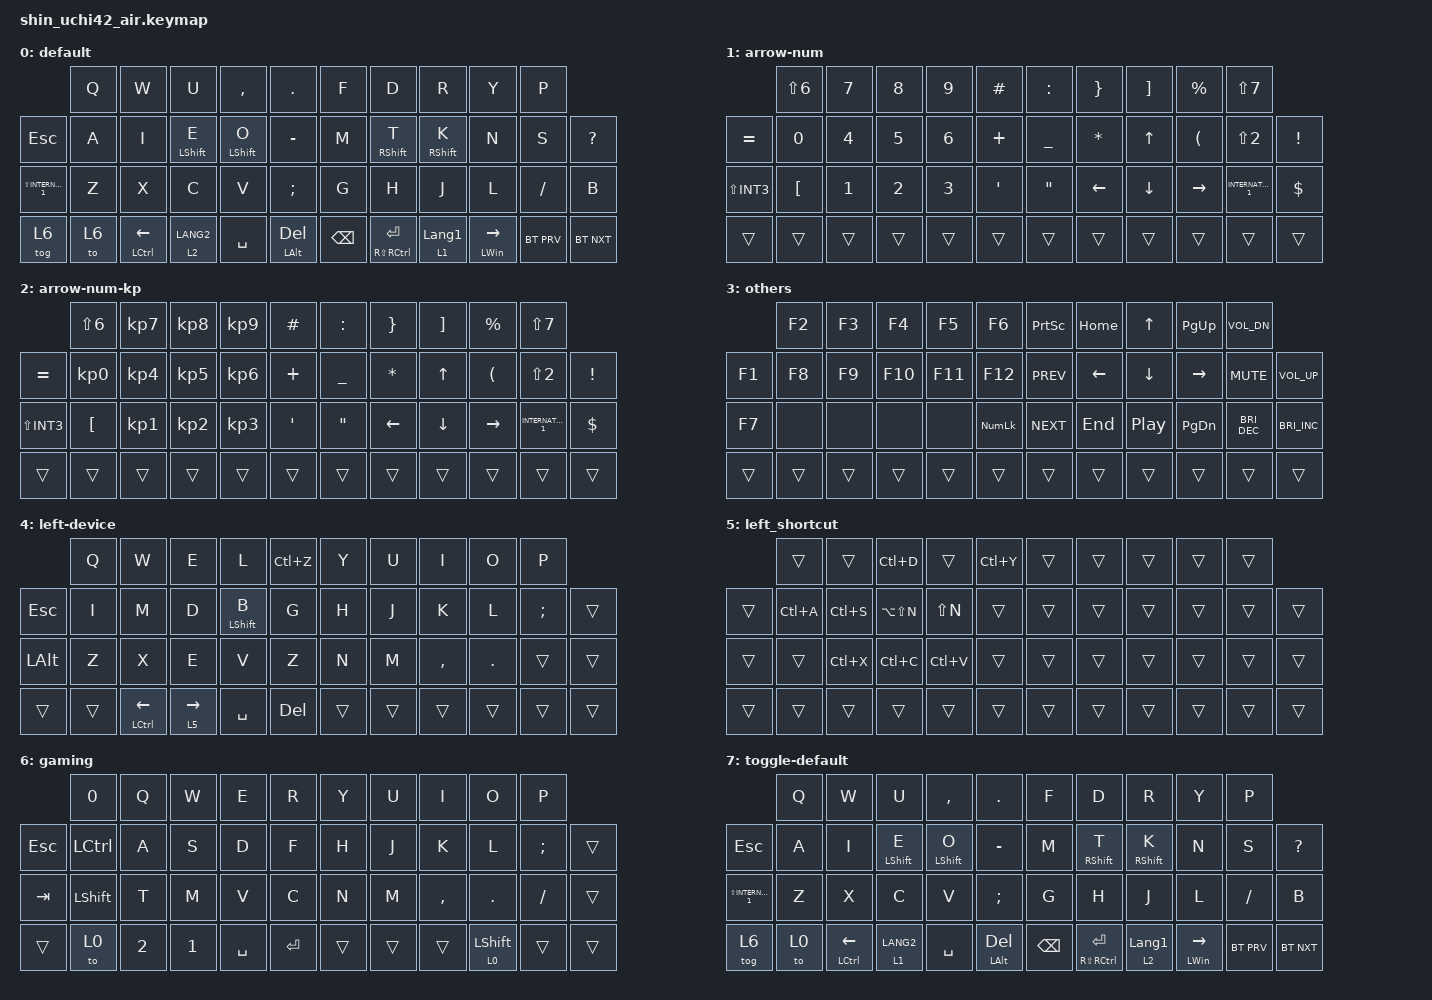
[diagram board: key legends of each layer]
#include <behaviors.dtsi>
#include <dt-bindings/zmk/bt.h>
#include <dt-bindings/zmk/keys.h>

&mt {
    quick-tap-ms = <200>;
    require-prior-idle-ms = <200>;
    flavor = "balanced";
};

/ {
    combos {
        compatible = "zmk,combos";

        bluetooth_clear {
            bindings = <&bt BT_CLR>;
            key-positions = <45 44>;
        };

        tab {
            bindings = <&kp TAB>;
            key-positions = <14 15>;
        };

        shift+tab {
            bindings = <&kp LS(TAB)>;
            key-positions = <26 27>;
            layers = <0 1 2>;
        };

        right-brace {
            bindings = <&kp PIPE>;
            key-positions = <6 17>;
        };

        right-bracket {
            bindings = <&kp BACKSLASH>;
            key-positions = <7 18>;
        };

        left-device {
            bindings = <&to 4>;
            key-positions = <11 12 13 14>;
        };

        f2 {
            bindings = <&kp F2>;
            key-positions = <12 11>;
            layers = <0 2 1 4>;
        };

        toggle-default {
            bindings = <&to 0>;
            key-positions = <17 18 19 20>;
        };

        enter {
            bindings = <&kp RET>;
            key-positions = <14 13>;
            layers = <0 2 1 4>;
        };

        greater_than {
            bindings = <&kp GREATER_THAN>;
            key-positions = <16 5>;
        };

        less_than {
            bindings = <&kp LESS_THAN>;
            key-positions = <28 16>;
        };

        grave {
            bindings = <&kp LS(LEFT_BRACKET)>;
            key-positions = <20 9>;
            layers = <0 1 2 7>;
        };
    };

    keymap {
        compatible = "zmk,keymap";

        default {
            bindings = <
                         &kp Q  &kp W           &kp U             &kp COMMA         &kp DOT       &kp F     &kp D                &kp R             &kp Y                     &kp P
&kp ESCAPE               &kp A  &kp I           &mt LEFT_SHIFT E  &mt LEFT_SHIFT O  &kp MINUS     &kp M     &mt RIGHT_SHIFT T    &mt RSHIFT K      &kp N                     &kp S       &kp QUESTION
&kp LS(INTERNATIONAL_1)  &kp Z  &kp X           &kp C             &kp V             &kp SEMI      &kp G     &kp H                &kp J             &kp L                     &kp SLASH   &kp B
&tog 6                   &to 6  &mt LCTRL LEFT  &lt 2 LANG2       &kp SPACE         &mt LALT DEL  &kp BSPC  &mt RS(RCTRL) ENTER  &lt 1 LANGUAGE_1  &mt LEFT_WIN RIGHT_ARROW  &bt BT_PRV  &bt BT_NXT
            >;
        };

        arrow-num {
            bindings = <
              &kp LS(NUMBER_6)  &kp N7  &kp N8  &kp N9  &kp HASH          &kp COLON          &kp RIGHT_BRACE  &kp RIGHT_BRACKET  &kp PERCENT           &kp LS(N7)
&kp EQUAL     &kp NUMBER_0      &kp N4  &kp N5  &kp N6  &kp PLUS          &kp UNDER          &kp ASTERISK     &kp UP_ARROW       &kp LEFT_PARENTHESIS  &kp LS(NUMBER_2)     &kp EXCL
&kp LS(INT3)  &kp LBKT          &kp N1  &kp N2  &kp N3  &kp SINGLE_QUOTE  &kp DOUBLE_QUOTES  &kp LEFT_ARROW   &kp DOWN_ARROW     &kp RIGHT_ARROW       &kp INTERNATIONAL_1  &kp DOLLAR
&trans        &trans            &trans  &trans  &trans  &trans            &trans             &trans           &trans             &trans                &trans               &trans
            >;
        };

        arrow-num-kp {
            bindings = <
              &kp LS(NUMBER_6)  &kp KP_NUMBER_7  &kp KP_NUMBER_8  &kp KP_NUMBER_9  &kp HASH          &kp COLON          &kp RIGHT_BRACE  &kp RIGHT_BRACKET  &kp PERCENT           &kp LS(N7)
&kp EQUAL     &kp KP_NUMBER_0   &kp KP_NUMBER_4  &kp KP_NUMBER_5  &kp KP_NUMBER_6  &kp PLUS          &kp UNDER          &kp ASTERISK     &kp UP_ARROW       &kp LEFT_PARENTHESIS  &kp LS(NUMBER_2)     &kp EXCL
&kp LS(INT3)  &kp LEFT_BRACKET  &kp KP_NUMBER_1  &kp KP_NUMBER_2  &kp KP_NUMBER_3  &kp SINGLE_QUOTE  &kp DOUBLE_QUOTES  &kp LEFT_ARROW   &kp DOWN_ARROW     &kp RIGHT_ARROW       &kp INTERNATIONAL_1  &kp DOLLAR
&trans        &trans            &trans           &trans           &trans           &trans            &trans             &trans           &trans             &trans                &trans               &trans
            >;
        };

        others {
            bindings = <
        &kp F2  &kp F3  &kp F4   &kp F5   &kp F6          &kp PRINTSCREEN  &kp HOME  &kp UP            &kp PG_UP      &kp C_VOL_DN
&kp F1  &kp F8  &kp F9  &kp F10  &kp F11  &kp F12         &kp C_PREV       &kp LEFT  &kp DOWN          &kp RIGHT      &kp C_MUTE            &kp C_VOL_UP
&kp F7  &none   &none   &none    &none    &kp KP_NUMLOCK  &kp C_NEXT       &kp END   &kp C_PLAY_PAUSE  &kp PAGE_DOWN  &kp C_BRIGHTNESS_DEC  &kp C_BRIGHTNESS_INC
&trans  &trans  &trans  &trans   &trans   &trans          &trans           &trans    &trans            &trans         &trans                &trans
            >;
        };

        left-device {
            bindings = <
              &kp Q   &kp W                  &kp E              &kp L         &kp LC(Z)  &kp Y   &kp U   &kp I      &kp O    &kp P
&kp ESC       &kp I   &kp M                  &kp D              &mt LSHIFT B  &kp G      &kp H   &kp J   &kp K      &kp L    &kp SEMI  &trans
&kp LEFT_ALT  &kp Z   &kp X                  &kp E              &kp V         &kp Z      &kp N   &kp M   &kp COMMA  &kp DOT  &trans    &trans
&trans        &trans  &mt LEFT_CONTROL LEFT  &lt 5 RIGHT_ARROW  &kp SPACE     &kp DEL    &trans  &trans  &trans     &trans   &trans    &trans
            >;
        };

        left_shortcut {
            bindings = <
        &trans     &trans     &kp LC(D)      &trans     &kp LC(Y)  &trans  &trans  &trans  &trans  &trans
&trans  &kp LC(A)  &kp LC(S)  &kp LA(LS(N))  &kp LS(N)  &trans     &trans  &trans  &trans  &trans  &trans  &trans
&trans  &trans     &kp LC(X)  &kp LC(C)      &kp LC(V)  &trans     &trans  &trans  &trans  &trans  &trans  &trans
&trans  &trans     &trans     &trans         &trans     &trans     &trans  &trans  &trans  &trans  &trans  &trans
            >;
        };

        gaming {
            bindings = <
         &kp N0            &kp Q         &kp W         &kp E      &kp R    &kp Y   &kp U   &kp I      &kp O             &kp P
&kp ESC  &kp LEFT_CONTROL  &kp A         &kp S         &kp D      &kp F    &kp H   &kp J   &kp K      &kp L             &kp SEMI  &trans
&kp TAB  &kp LEFT_SHIFT    &kp T         &kp M         &kp V      &kp C    &kp N   &kp M   &kp COMMA  &kp DOT           &kp FSLH  &trans
&trans   &to 0             &kp NUMBER_2  &kp NUMBER_1  &kp SPACE  &kp RET  &trans  &trans  &trans     &lt 0 LEFT_SHIFT  &trans    &trans
            >;
        };

        toggle-default {
            bindings = <
                         &kp Q  &kp W           &kp U             &kp COMMA         &kp DOT       &kp F     &kp D                &kp R             &kp Y                     &kp P
&kp ESCAPE               &kp A  &kp I           &mt LEFT_SHIFT E  &mt LEFT_SHIFT O  &kp MINUS     &kp M     &mt RIGHT_SHIFT T    &mt RSHIFT K      &kp N                     &kp S       &kp QUESTION
&kp LS(INTERNATIONAL_1)  &kp Z  &kp X           &kp C             &kp V             &kp SEMI      &kp G     &kp H                &kp J             &kp L                     &kp SLASH   &kp B
&tog 6                   &to 0  &mt LCTRL LEFT  &lt 1 LANG2       &kp SPACE         &mt LALT DEL  &kp BSPC  &mt RS(RCTRL) ENTER  &lt 2 LANGUAGE_1  &mt LEFT_WIN RIGHT_ARROW  &bt BT_PRV  &bt BT_NXT
            >;
        };
    };

    conditional_layers {
        compatible = "zmk,conditional-layers";

        others {
            if-layers = <1 2>;
            then-layer = <3>;
        };
    };
};
